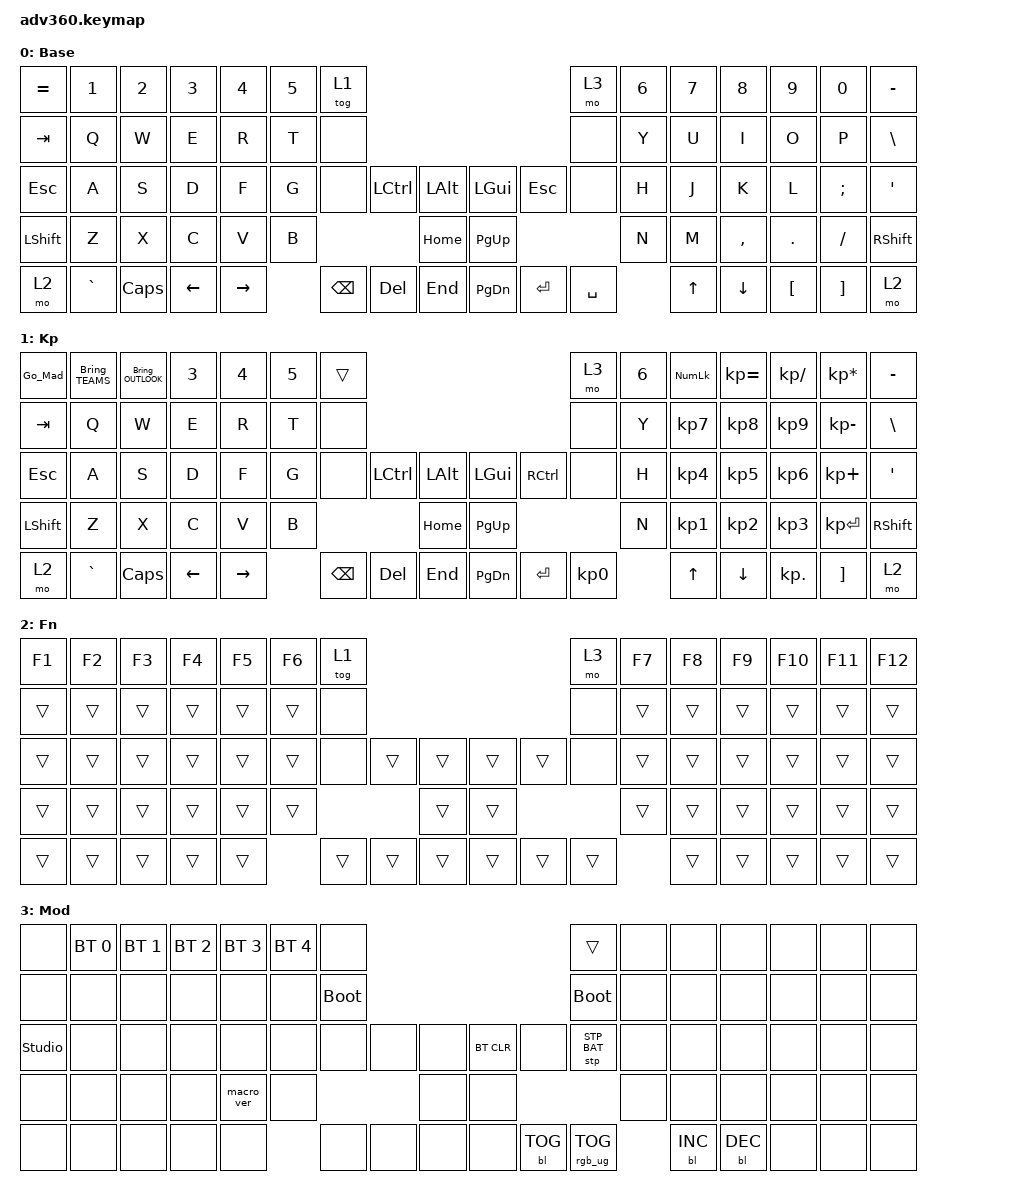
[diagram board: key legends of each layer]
#include <dt-bindings/zmk/stp.h>
#include <behaviors.dtsi>
#include <dt-bindings/zmk/backlight.h>
#include <dt-bindings/zmk/bt.h>
#include <dt-bindings/zmk/keys.h>
#include <dt-bindings/zmk/rgb.h>

/ {
    behaviors {
        #include "macros.dtsi"
      #include "version.dtsi"

        hm: homerow_mods {
            compatible = "zmk,behavior-hold-tap";
            label = "HOMEROW_MODS";
            #binding-cells = <2>;
            tapping-term-ms = <200>;
            quick_tap_ms = <175>;
            flavor = "tap-preferred";
            bindings = <&kp>, <&kp>;
        };
    };

    macros {
        Go_Mad: Go_Mad {
            compatible = "zmk,behavior-macro";
            #binding-cells = <0>;
            bindings = <&kp EXCL &kp M &kp A &kp D &kp I &kp K &kp W &kp E &kp N2 &kp N1 &kp RET>;
            label = "GO_MAD";
            wait-ms = <20>;
        };

        Bring_TEAMS: Bring_TEAMS {
            compatible = "zmk,behavior-macro";
            #binding-cells = <0>;
            bindings = <&kp RIGHT_WIN &kp T &kp E &kp A &kp M &kp S &kp RET>;
            label = "BRING_TEAMS";
        };

        Bring_OUTLOOK: Bring_OUTLOOK {
            compatible = "zmk,behavior-macro";
            #binding-cells = <0>;
            bindings = <&kp RIGHT_WIN &kp O &kp U &kp T &kp L &kp O &kp O &kp K &kp RET>;
            label = "BRING_OUTLOOK";
        };
    };

    combos {
        compatible = "zmk,combos";

        Pwd_hotkey {
            bindings = <&Go_Mad>;
            key-positions = <35 74>;
        };

        TEAMS_hotkey {
            bindings = <&Bring_TEAMS>;
            key-positions = <20 35>;
        };

        OUTLOOK_hotkey {
            bindings = <&Bring_OUTLOOK>;
            key-positions = <35 21>;
        };
    };

    keymap {
        compatible = "zmk,keymap";

        default_layer {
            display-name = "Base";
            bindings = <
&kp EQUAL  &kp N1     &kp N2    &kp N3    &kp N4     &kp N5  &tog 1                                                   &mo 3      &kp N6  &kp N7  &kp N8     &kp N9    &kp N0    &kp MINUS
&kp TAB    &kp Q      &kp W     &kp E     &kp R      &kp T   &none                                                    &none      &kp Y   &kp U   &kp I      &kp O     &kp P     &kp BSLH
&kp ESC    &kp A      &kp S     &kp D     &kp F      &kp G   &none     &kp LCTRL  &kp LALT      &kp LGUI   &kp ESC    &none      &kp H   &kp J   &kp K      &kp L     &kp SEMI  &kp SQT
&kp LSHFT  &kp Z      &kp X     &kp C     &kp V      &kp B                        &kp HOME      &kp PG_UP                        &kp N   &kp M   &kp COMMA  &kp DOT   &kp FSLH  &kp RSHFT
&mo 2      &kp GRAVE  &kp CAPS  &kp LEFT  &kp RIGHT          &kp BSPC  &kp DEL    &kp END       &kp PG_DN  &kp ENTER  &kp SPACE          &kp UP  &kp DOWN   &kp LBKT  &kp RBKT  &mo 2
            >;
        };

        keypad {
            display-name = "Kp";
            bindings = <
&Go_Mad    &Bring_TEAMS  &Bring_OUTLOOK  &kp N3    &kp N4     &kp N5  &trans                                                   &mo 3      &kp N6  &kp KP_NUM  &kp KP_EQUAL  &kp KP_DIVIDE  &kp KP_MULTIPLY  &kp MINUS
&kp TAB    &kp Q         &kp W           &kp E     &kp R      &kp T   &none                                                    &none      &kp Y   &kp KP_N7   &kp KP_N8     &kp KP_N9      &kp KP_MINUS     &kp BSLH
&kp ESC    &kp A         &kp S           &kp D     &kp F      &kp G   &none     &kp LCTRL  &kp LALT      &kp LGUI   &kp RCTRL  &none      &kp H   &kp KP_N4   &kp KP_N5     &kp KP_N6      &kp KP_PLUS      &kp SQT
&kp LSHFT  &kp Z         &kp X           &kp C     &kp V      &kp B                        &kp HOME      &kp PG_UP                        &kp N   &kp KP_N1   &kp KP_N2     &kp KP_N3      &kp KP_ENTER     &kp RSHFT
&mo 2      &kp GRAVE     &kp CAPS        &kp LEFT  &kp RIGHT          &kp BSPC  &kp DEL    &kp END       &kp PG_DN  &kp ENTER  &kp KP_N0          &kp UP      &kp DOWN      &kp KP_DOT     &kp RBKT         &mo 2
            >;
        };

        fn {
            display-name = "Fn";
            bindings = <
&kp F1  &kp F2  &kp F3  &kp F4  &kp F5  &kp F6  &tog 1                                      &mo 3   &kp F7  &kp F8  &kp F9  &kp F10  &kp F11  &kp F12
&trans  &trans  &trans  &trans  &trans  &trans  &none                                       &none   &trans  &trans  &trans  &trans   &trans   &trans
&trans  &trans  &trans  &trans  &trans  &trans  &none   &trans  &trans      &trans  &trans  &none   &trans  &trans  &trans  &trans   &trans   &trans
&trans  &trans  &trans  &trans  &trans  &trans                  &trans      &trans                  &trans  &trans  &trans  &trans   &trans   &trans
&trans  &trans  &trans  &trans  &trans          &trans  &trans  &trans      &trans  &trans  &trans          &trans  &trans  &trans   &trans   &trans
            >;
        };

        mod {
            display-name = "Mod";
            bindings = <
&none           &bt BT_SEL 0  &bt BT_SEL 1  &bt BT_SEL 2  &bt BT_SEL 3  &bt BT_SEL 4  &none                                                  &trans           &none  &none       &none       &none  &none  &none
&none           &none         &none         &none         &none         &none         &bootloader                                            &bootloader      &none  &none       &none       &none  &none  &none
&studio_unlock  &none         &none         &none         &none         &none         &none        &none  &none      &bt BT_CLR  &none       &stp STP_BAT     &none  &none       &none       &none  &none  &none
&none           &none         &none         &none         &macro_ver    &none                             &none      &none                                    &none  &none       &none       &none  &none  &none
&none           &none         &none         &none         &none                       &none        &none  &none      &none       &bl BL_TOG  &rgb_ug RGB_TOG         &bl BL_INC  &bl BL_DEC  &none  &none  &none
            >;
        };

        extra1 {
            display-name = "Red";
            status = "reserved";
        };

        extra2 {
            display-name = "Purple";
            status = "reserved";
        };

        extra3 {
            display-name = "Cyan";
            status = "reserved";
        };

        extra4 {
            display-name = "Yellow";
            status = "reserved";
        };
    };
};
